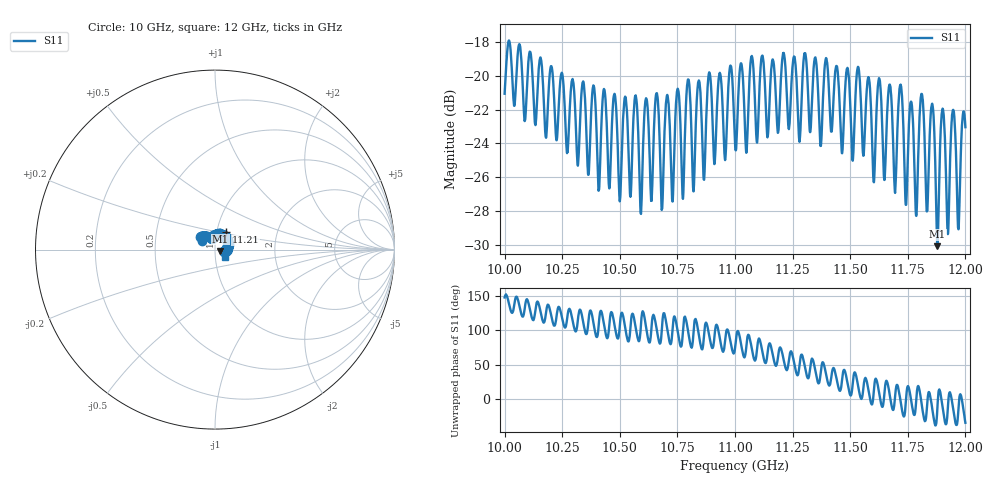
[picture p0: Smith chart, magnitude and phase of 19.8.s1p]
[Version] 2.0
! Rohde & Schwarz Vector Network Analyzer
! Rohde-Schwarz,ZNL20-2Port,1323001220200009,1.71.1.10-23.02.1.238
! Port Assignments:
! Nominal Port -> Actual Test Port
!  1 -> 1
! Created: GMT 2024-09-04 12:03:28
# Hz S DB R 50
[Number of Ports] 1
! freq[Hz]  S11[mag dB]  S11[ang]
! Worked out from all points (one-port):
!   2001 points, 10 GHz to 12 GHz, reference 50 ohm
!   lowest |S11| = -30.1 dB at 11.88 GHz (marker M1), VSWR 1.06, Z = 53.1 - j0.86 ohm
!   |S11| at or under -10 dB: start of sweep to end of sweep
!   S11 on the Smith chart (normalised r, x): 10 GHz: 0.86, +0.08; 11.21 GHz: 1.11, +0.22; 12 GHz: 1.12, -0.09
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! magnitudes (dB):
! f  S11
! 10 GHz  -21.1
! 10.25 GHz  -19.9
! 10.41 GHz  -26.7
! 10.48 GHz  -21.1
! 10.5 GHz  -27.4
! 10.57 GHz  -21.2
! 10.64 GHz  -27.4
! 10.66 GHz  -21.0
! 10.73 GHz  -27.4
! 10.75 GHz  -20.8
! 10.77 GHz  -27.1
! 10.8 GHz  -20.2
! 10.82 GHz  -26.8
! 10.84 GHz  -20.3
! 10.87 GHz  -26.1
! 11 GHz  -24.1
! 11.21 GHz  -18.6
! 11.25 GHz  -19.4
! 11.5 GHz  -21.6
! 11.75 GHz  -24.8
! 11.79 GHz  -28.2
! 11.81 GHz  -21.1
! 11.83 GHz  -28.0
! 11.86 GHz  -21.6
! 11.88 GHz  -30.1
! 11.9 GHz  -22.0
! 11.92 GHz  -29.4
! 12 GHz  -23.0
